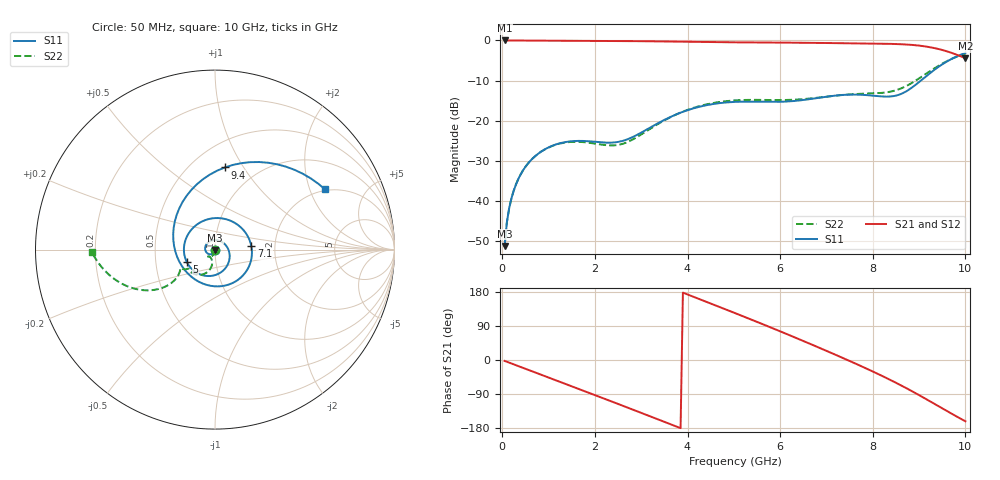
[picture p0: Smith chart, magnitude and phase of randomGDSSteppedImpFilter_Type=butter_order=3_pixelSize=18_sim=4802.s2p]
! freq	dB(S11)	phase(S11)	dB(S12)	phase(S12)
!  dB(S21)	phase(S21)	dB(S22)	phase(S22)
!S-par simulation data
#  GHz  S  DB  R 50
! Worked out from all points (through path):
!   200 points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, 50 MHz to 10 GHz, reference 50 ohm
!   highest |S21| = 0.00 dB at 50 MHz (marker M1); lowest = -4.4 dB at 10 GHz (marker M2)
!   group delay of S21, straight-line fit = 141 ps
!   lowest |S11| = -51.1 dB at 50 MHz (marker M3), VSWR 1.01, Z = 50 - j0.277 ohm
!   |S11| at or under -10 dB: start of sweep to 9.037 GHz
!   |S22| runs from -51.2 to -3.3 dB; largest |S21 - S12| = 0
!   S11 on the Smith chart (normalised r, x): 50 MHz: 1.00, -0.01; 5 GHz: 0.72, -0.10; 7.1 GHz: 1.50, +0.06; 9.4 GHz: 0.71, +0.83; 10 GHz: 1.95, +2.56
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0.05  -51.13 -91.8  -0.00 -2.4  -0.00 -2.4  -51.18 -90.2
0.1  -45.13 -95.5  -0.01 -4.7  -0.01 -4.7  -45.16 -92.4
0.2  -39.17 -101.9  -0.02 -9.3  -0.02 -9.3  -39.15 -95.8
0.5  -31.43 -120.8  -0.03 -23.2  -0.03 -23.2  -31.44 -105.9
1.05  -26.34 -157.0  -0.06 -48.6  -0.06 -48.6  -26.37 -122.8
1.75  -25.01 149.5  -0.10 -81.0  -0.10 -81.0  -25.30 -135.4
2.55  -25.13 61.2  -0.15 -118.3  -0.15 -118.3  -25.87 -118.6
3.4  -20.35 -32.9  -0.24 -158.4  -0.24 -158.4  -20.53 -101.6
4.15  -16.82 -92.8  -0.35 165.8  -0.35 165.8  -16.69 -113.4
5  -15.30 -156.7  -0.47 125.0  -0.47 125.0  -14.93 -131.5
5.05  -15.28 -160.7  -0.47 122.6  -0.47 122.6  -14.90 -132.4
5.45  -15.24 166.0  -0.50 103.1  -0.50 103.1  -14.78 -138.8
5.85  -15.29 129.4  -0.53 83.2  -0.53 83.2  -14.82 -142.8
6.25  -15.11 89.8  -0.56 63.0  -0.56 63.0  -14.77 -144.4
6.7  -14.50 44.6  -0.60 39.9  -0.60 39.9  -14.38 -145.4
7.1  -13.84 5.8  -0.66 18.9  -0.66 18.9  -13.85 -147.3
7.75  -13.51 -57.4  -0.74 -16.2  -0.74 -16.2  -13.27 -151.5
8.35  -13.96 -130.7  -0.84 -50.8  -0.84 -50.8  -12.81 -148.7
8.9  -11.26 144.9  -1.16 -85.9  -1.16 -85.9  -10.18 -142.6
9.4  -6.73 83.2  -2.08 -120.5  -2.08 -120.5  -6.45 -152.0
9.7  -4.61 53.9  -3.08 -141.6  -3.08 -141.6  -4.60 -164.3
10  -3.11 28.7  -4.43 -161.7  -4.43 -161.7  -3.27 -179.0
